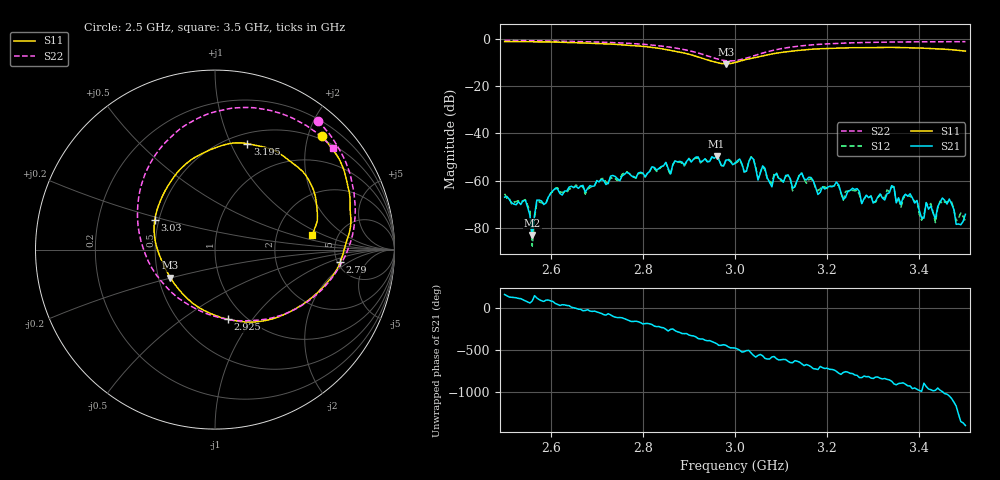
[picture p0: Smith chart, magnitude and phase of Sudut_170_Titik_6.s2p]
# Hz S RI R 50
! CMT, C1220, 16058040, 17.2.0/1
! Date: 15/08/2018 10:17:42
! Data: Format (Calibration Info)
! Freq  S11: Re/Im (F2)  S21: Re/Im (F2)  S12: Re/Im (F2)  S22: Re/Im (F2)
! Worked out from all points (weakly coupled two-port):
!   201 points, 2.5 GHz to 3.5 GHz, reference 50 ohm
!   highest |S21| = -49.80 dB at 2.96 GHz (marker M1); lowest = -83.1 dB at 2.56 GHz (marker M2)
!   lowest |S11| = -10.6 dB at 2.98 GHz (marker M3), VSWR 1.83, Z = 28.9 - j9.93 ohm
!   |S11| at or under -10 dB: 2.958 GHz to 3.002 GHz (43.32 MHz wide, 1.45 % of centre)
!   |S22| runs from -9.4 to -0.7 dB; largest |S21 - S12| = 0.00023
!   S11 on the Smith chart (normalised r, x): 2.5 GHz: 0.43, +2.24; 2.79 GHz: 5.30, -1.43; 2.925 GHz: 0.83, -0.77; 3.03 GHz: 0.48, +0.18; 3.195 GHz: 0.61, +1.16; 3.5 GHz: 3.23, +0.73
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2.5e9  0.5968 0.6349  -0.000425 0.000125  -0.000501 0.000156  0.5735 0.7163
2.545e9  0.6444 0.5711  1.45e-05 0.000384  -9.71e-06 0.000395  0.6242 0.6611
2.56e9  0.6609 0.5509  2.93e-06 6.99e-05  -2.53e-05 3.2e-05  0.6401 0.6409
2.57e9  0.6733 0.5337  -0.000208 0.000324  -0.000152 0.000299  0.6508 0.6254
2.67e9  0.7487 0.3167  0.00068 -0.000399  0.000622 -0.000383  0.7445 0.4436
2.79e9  0.6979 -0.0685  -0.00136 -0.000455  -0.00132 -0.000409  0.7693 0.0958
2.835e9  0.5814 -0.2299  -0.00141 0.00113  -0.00139 0.00102  0.7024 -0.0787
2.925e9  0.0715 -0.3883  0.00244 -0.000379  0.00235 -0.000172  0.2879 -0.387
2.96e9  -0.154 -0.2728  0.00147 -0.00288  0.0016 -0.00298  0.0179 -0.3771
2.98e9  -0.2482 -0.1571  0.000337 -0.00268  0.00039 -0.0026  -0.1367 -0.3139
3e9  -0.3115 -0.0264  -0.00104 -0.00207  -0.00115 -0.002  -0.2725 -0.2065
3.03e9  -0.3359 0.1632  -0.00203 -0.00146  -0.00208 -0.00147  -0.4015 0.0121
3.08e9  -0.2153 0.4235  -0.000539 0.000499  -0.000625 0.000596  -0.4012 0.3891
3.17e9  0.1012 0.5934  0.000974 -5.47e-05  0.000953 6.03e-05  -0.0752 0.7409
3.195e9  0.1796 0.5903  0.000659 -1.09e-05  0.000731 -1.96e-05  0.0183 0.772
3.335e9  0.4936 0.4293  -0.000401 -0.000377  -0.000425 -0.000396  0.409 0.7427
3.395e9  0.5535 0.3165  -0.000132 0.000353  -0.000106 0.000359  0.5167 0.6858
3.405e9  0.5592 0.2956  9.58e-06 0.00016  6.18e-06 0.000144  0.533 0.674
3.415e9  0.5631 0.2729  -0.000276 0.000201  -0.000247 0.000223  0.5488 0.6633
3.465e9  0.5691 0.1577  0.000346 0.000211  0.000324 0.000168  0.6155 0.6076
3.48e9  0.558 0.1247  -8.08e-07 -0.000118  -2.14e-05 -0.000137  0.6334 0.5887
3.5e9  0.5408 0.0792  0.000151 0.00012  0.00011 8.22e-05  0.6562 0.5644
